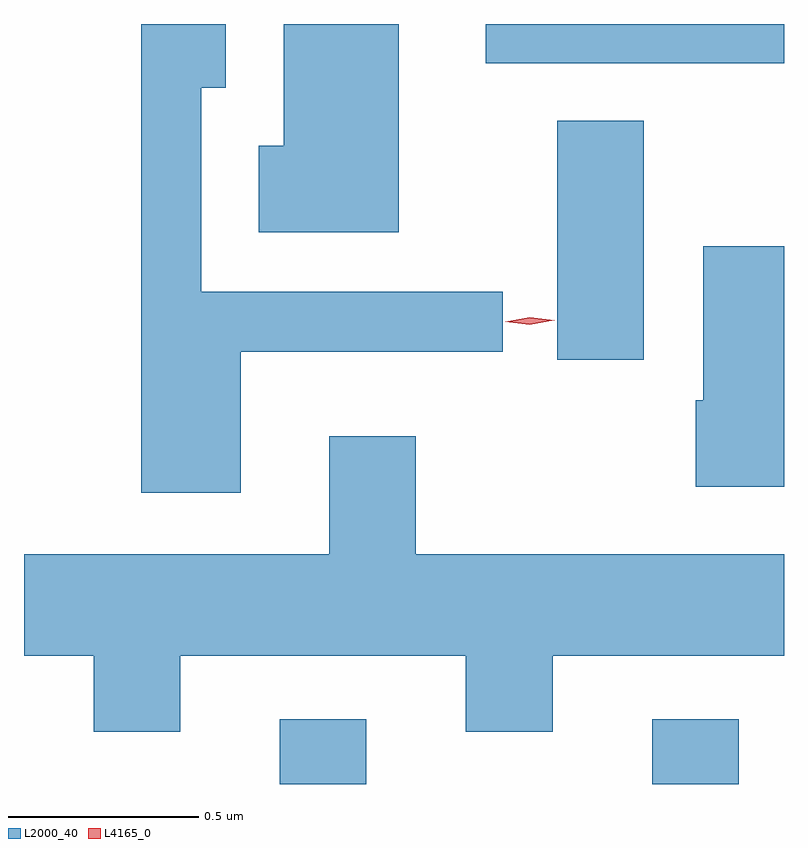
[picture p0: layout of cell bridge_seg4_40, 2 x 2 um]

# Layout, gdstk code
import gdstk
lib = gdstk.Library(unit=1e-6, precision=1e-09)
def R(c, l, rs):  # rectangles x0, y0, x1, y1
    for r in rs: c.add(gdstk.rectangle(r[:2], r[2:], *l))
def P(c, l, *ps):  # polygons
    for p in ps: c.add(gdstk.Polygon(p, *l))
L2000_40 = (2000, 40)
L4165_0 = (4165, 0)

bridge_seg4_40 = lib.new_cell('bridge_seg4_40')
R(bridge_seg4_40, L2000_40, [(1306.041,1378.759,1306.269,1378.929), (1307.021,1378.759,1307.249,1378.929), (1306.771,1379.876,1306.999,1380.504), (1306.583,1380.656,1307.368,1380.759)])
P(bridge_seg4_40, L2000_40, [(1306.354,1380.759),(1306.051,1380.759),(1306.051,1380.439),(1305.986,1380.439),(1305.986,1380.211),(1306.354,1380.211)],
  [(1305.939,1379.896),(1306.628,1379.896),(1306.628,1380.054),(1305.834,1380.054),(1305.834,1380.591),(1305.899,1380.591),(1305.899,1380.759),(1305.676,1380.759),(1305.676,1379.526),(1305.939,1379.526)],
  [(1307.368,1380.174),(1307.156,1380.174),(1307.156,1379.769),(1307.136,1379.769),(1307.136,1379.541),(1307.368,1379.541)],
  [(1305.779,1379.096),(1306.531,1379.096),(1306.531,1378.896),(1306.759,1378.896),(1306.759,1379.096),(1307.368,1379.096),(1307.368,1379.364),(1306.399,1379.364),(1306.399,1379.674),(1306.171,1379.674),(1306.171,1379.364),(1305.368,1379.364),(1305.368,1379.096),(1305.551,1379.096),(1305.551,1378.896),(1305.779,1378.896)])
P(bridge_seg4_40, L4165_0, [(1306.699,1379.968),(1306.634,1379.975),(1306.633,1379.975),(1306.634,1379.976),(1306.699,1379.987),(1306.764,1379.98),(1306.765,1379.98),(1306.764,1379.979)])

lib.write_gds('bridge_seg4_40.gds')
